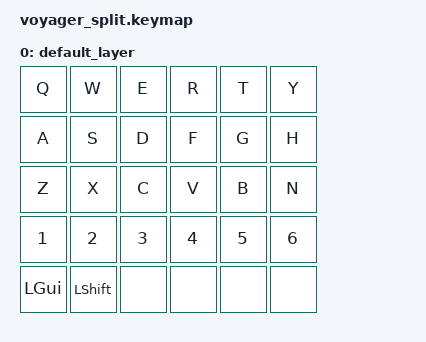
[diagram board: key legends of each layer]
/ {
	keymap {
		compatible = "zmk,keymap";

		default_layer {
			bindings = <
				&kp Q    &kp W    &kp E    &kp R    &kp T    &kp Y
				&kp A    &kp S    &kp D    &kp F    &kp G    &kp H
				&kp Z    &kp X    &kp C    &kp V    &kp B    &kp N
				&kp 1    &kp 2    &kp 3    &kp 4    &kp 5    &kp 6
				&kp LGUI &kp LSHFT &none   &none   &none   &none
			>;
		};
	};
};
